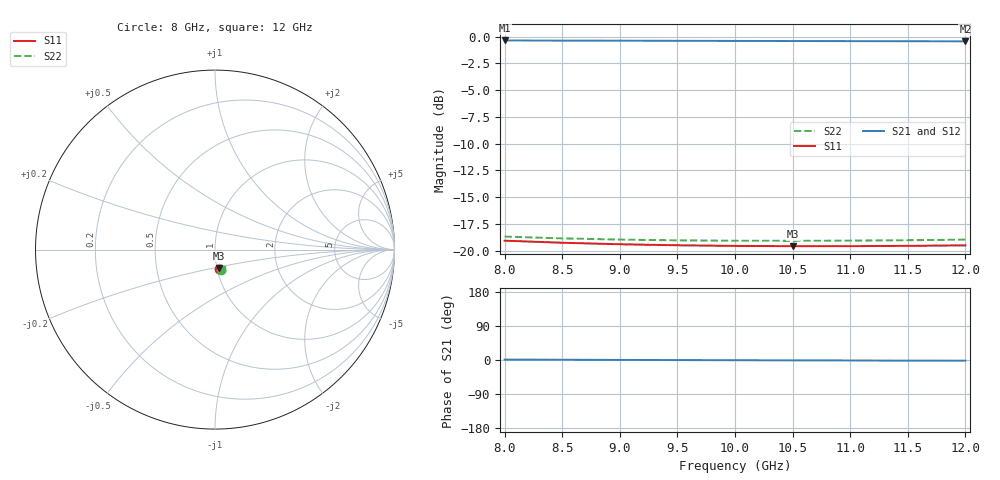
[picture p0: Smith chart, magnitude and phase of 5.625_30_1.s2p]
! Created Thu Oct 22 17:14:42 2020
# hz S ma R 50
! 2 Port Network Data from SP1.SP block
! freq  magS11  angS11  magS21  angS21  magS12  angS12  magS22  angS22
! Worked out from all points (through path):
!   9 points, 8 GHz to 12 GHz, reference 50 ohm
!   highest |S21| = -0.36 dB at 8 GHz (marker M1); lowest = -0.4 dB at 12 GHz (marker M2)
!   lowest |S11| = -19.6 dB at 10.5 GHz (marker M3), VSWR 1.23, Z = 51.2 - j10.6 ohm
!   |S11| at or under -10 dB: start of sweep to end of sweep
!   |S22| runs from -19.1 to -18.7 dB; largest |S21 - S12| = 0
8e9  0.1113 -79.7  0.9593 1.2  0.9593 1.2  0.1162 -72.8
8.5e9  0.1088 -79.1  0.9581 0.7  0.9581 0.7  0.1141 -72.2
9e9  0.1071 -78.7  0.9569 0.2  0.9569 0.2  0.1126 -71.6
9.5e9  0.1059 -78.2  0.9557 -0.2  0.9557 -0.2  0.1116 -71.2
1e10  0.1052 -77.8  0.9546 -0.6  0.9546 -0.6  0.1112 -70.8
1.05e10  0.1049 -77.5  0.9535 -0.9  0.9535 -0.9  0.1111 -70.6
1.1e10  0.1049 -77.3  0.9524 -1.3  0.9524 -1.3  0.1113 -70.4
1.15e10  0.1052 -77.1  0.9514 -1.6  0.9514 -1.6  0.1118 -70.3
1.2e10  0.1058 -77.1  0.9504 -1.9  0.9504 -1.9  0.1125 -70.3
